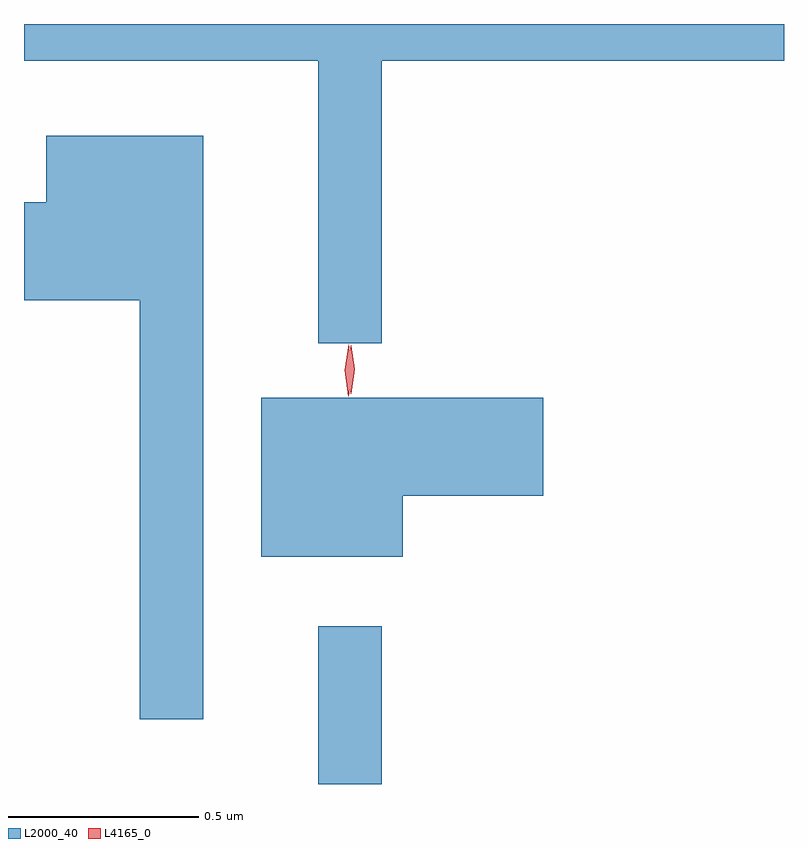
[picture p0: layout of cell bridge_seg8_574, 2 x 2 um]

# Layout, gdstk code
import gdstk
lib = gdstk.Library(unit=1e-6, precision=1e-09)
def R(c, l, rs):  # rectangles x0, y0, x1, y1
    for r in rs: c.add(gdstk.rectangle(r[:2], r[2:], *l))
def P(c, l, *ps):  # polygons
    for p in ps: c.add(gdstk.Polygon(p, *l))
L2000_40 = (2000, 40)
L4165_0 = (4165, 0)

bridge_seg8_574 = lib.new_cell('bridge_seg8_574')
R(bridge_seg8_574, L2000_40, [(572.321,1810.093,572.489,1810.508)])
P(bridge_seg8_574, L2000_40, [(572.489,1811.996),(573.547,1811.996),(573.547,1812.093),(571.547,1812.093),(571.547,1811.996),(572.321,1811.996),(572.321,1811.253),(572.489,1811.253)],
  [(572.019,1811.799),(571.606,1811.799),(571.606,1811.624),(571.547,1811.624),(571.547,1811.366),(571.851,1811.366),(571.851,1810.263),(572.019,1810.263)],
  [(572.544,1810.851),(572.914,1810.851),(572.914,1811.109),(572.171,1811.109),(572.171,1810.691),(572.544,1810.691)])
P(bridge_seg8_574, L4165_0, [(572.4,1811.114),(572.4,1811.114),(572.391,1811.182),(572.402,1811.25),(572.402,1811.25),(572.402,1811.25),(572.411,1811.182),(572.401,1811.114)],
  [(572.407,1811.12),(572.398,1811.184),(572.407,1811.246),(572.408,1811.247),(572.408,1811.246),(572.418,1811.184),(572.408,1811.12),(572.408,1811.12)])

lib.write_gds('bridge_seg8_574.gds')
